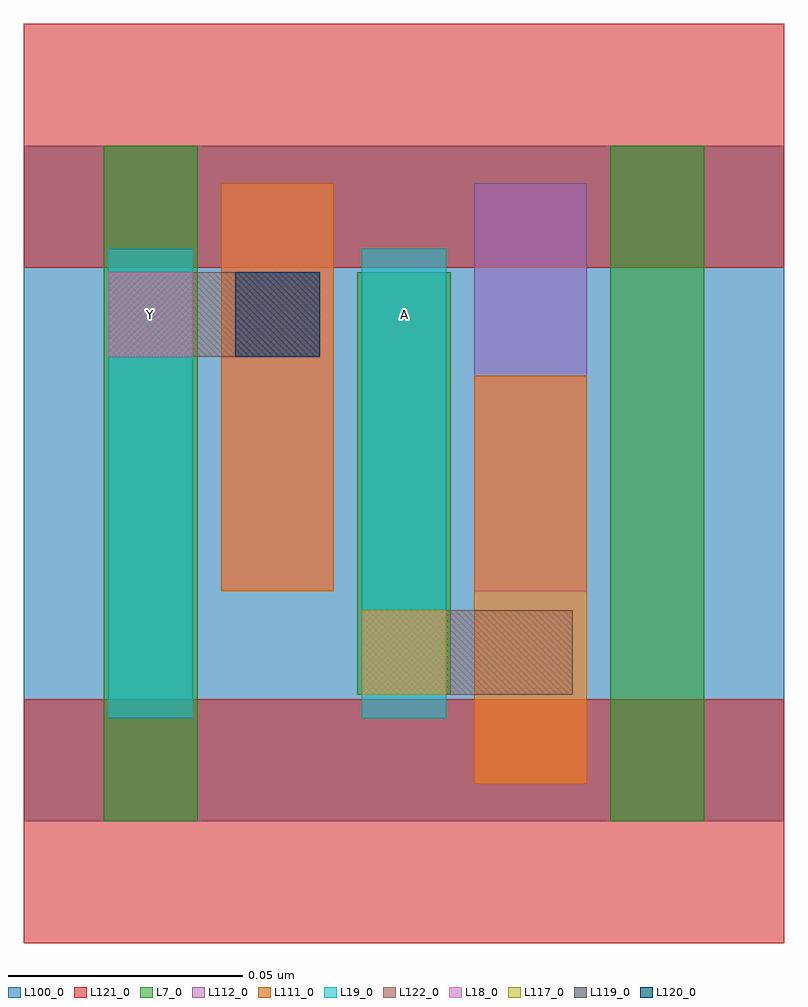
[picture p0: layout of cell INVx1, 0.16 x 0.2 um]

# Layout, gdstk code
import gdstk
lib = gdstk.Library(unit=1e-6, precision=2.5e-10)
def R(c, l, rs):  # rectangles x0, y0, x1, y1
    for r in rs: c.add(gdstk.rectangle(r[:2], r[2:], *l))
L7_0 = (7, 0)
L18_0 = (18, 0)
L19_0 = (19, 0)
L100_0 = (100, 0)
L111_0 = (111, 0)
L112_0 = (112, 0)
L117_0 = (117, 0)
L119_0 = (119, 0)
L120_0 = (120, 0)
L121_0 = (121, 0)
L122_0 = (122, 0)

invx1 = lib.new_cell('INVx1')
R(invx1, L7_0, [(0.017,0,0.037,0.144), (0.125,0,0.145,0.144), (0.071,0.027,0.091,0.117)])
R(invx1, L18_0, [(0.072,0.027,0.09,0.045), (0.018,0.099,0.036,0.117)])
R(invx1, L19_0, [(0.018,0.022,0.036,0.122), (0.072,0.022,0.09,0.122)])
R(invx1, L100_0, [(0,0,0.162,0.144)])
R(invx1, L111_0, [(0.096,0.008,0.12,0.095), (0.042,0.049,0.066,0.136)])
R(invx1, L112_0, [(0.042,0.049,0.066,0.136), (0.096,0.049,0.12,0.136)])
R(invx1, L117_0, [(0.072,0.027,0.09,0.045)])
R(invx1, L119_0, [(0.045,0.099,0.063,0.117)])
R(invx1, L120_0, [(0.045,0.099,0.063,0.117)])
R(invx1, L121_0, [(0,-0.026,0.162,0.026), (0,0.118,0.162,0.17)])
R(invx1, L122_0, [(0.072,0.027,0.117,0.045), (0.018,0.099,0.063,0.117)])
invx1.add(gdstk.Label('Y', (0.027,0.108), layer=19, texttype=251))
invx1.add(gdstk.Label('A', (0.081,0.108), layer=19, texttype=251))

lib.write_gds('INVx1.gds')
